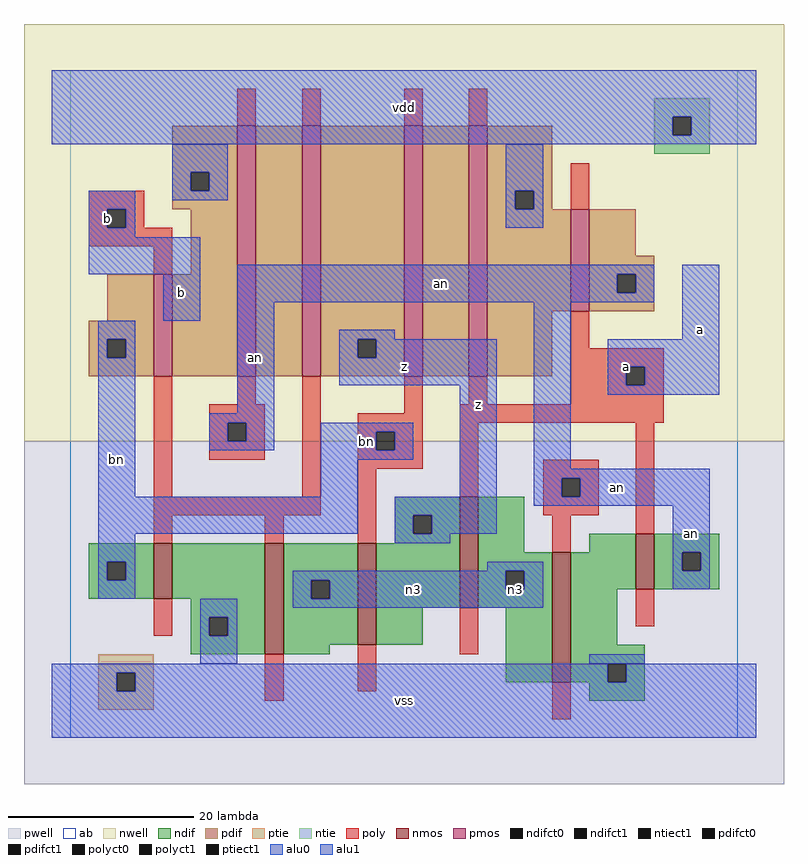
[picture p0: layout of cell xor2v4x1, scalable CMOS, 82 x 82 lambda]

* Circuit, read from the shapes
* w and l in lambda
.subckt xor2v4x1 a an b bn n3 vdd vss z
M1 vss b bn vss nfet w=6 l=2
M2 n3 b vss vss nfet w=12 l=2
M3 z bn n3 vss nfet w=11 l=2
M4 n3 a z vss nfet w=12 l=2
M5 vss an n3 vss nfet w=14 l=2
M6 an a vss vss nfet w=6 l=2
M7 vdd b bn vdd pfet w=11 l=2
M8 n1 an vdd vdd pfet w=27 l=2
M9 z b n1 vdd pfet w=27 l=2
M10 n2 bn z vdd pfet w=27 l=2
M11 vdd a n2 vdd pfet w=27 l=2
M12 an a vdd vdd pfet w=11 l=2
.ends

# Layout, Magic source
magic
tech scmos
<< ab >>
rect 0 0 72 72
<< nwell >>
rect -5 32 77 77
<< pwell >>
rect -5 -5 77 32
<< poly >>
rect 18 66 20 70
rect 25 66 27 70
rect 36 66 38 70
rect 43 66 45 70
rect 2 57 8 59
rect 2 55 4 57
rect 6 55 8 57
rect 2 53 11 55
rect 9 50 11 53
rect 54 57 56 62
rect 54 42 56 46
rect 54 40 64 42
rect 9 26 11 39
rect 18 36 20 39
rect 15 34 21 36
rect 15 32 17 34
rect 19 32 21 34
rect 15 30 21 32
rect 25 26 27 39
rect 36 35 38 39
rect 43 36 45 39
rect 54 38 60 40
rect 62 38 64 40
rect 54 36 64 38
rect 9 24 27 26
rect 31 33 38 35
rect 31 31 33 33
rect 35 31 38 33
rect 31 29 38 31
rect 42 34 64 36
rect 9 21 11 24
rect 21 21 23 24
rect 31 21 33 29
rect 42 26 44 34
rect 51 28 57 30
rect 51 26 53 28
rect 55 26 57 28
rect 9 11 11 15
rect 51 24 57 26
rect 52 20 54 24
rect 61 22 63 34
rect 21 4 23 9
rect 31 5 33 10
rect 42 9 44 14
rect 61 12 63 16
rect 52 2 54 6
<< ndif >>
rect 35 24 42 26
rect 35 22 37 24
rect 39 22 42 24
rect 35 21 42 22
rect 2 19 9 21
rect 2 17 4 19
rect 6 17 9 19
rect 2 15 9 17
rect 11 15 21 21
rect 13 13 21 15
rect 13 11 15 13
rect 17 11 21 13
rect 13 9 21 11
rect 23 17 31 21
rect 23 15 26 17
rect 28 15 31 17
rect 23 10 31 15
rect 33 14 42 21
rect 44 20 49 26
rect 56 20 61 22
rect 44 18 52 20
rect 44 16 47 18
rect 49 16 52 18
rect 44 14 52 16
rect 33 10 38 14
rect 23 9 28 10
rect 47 6 52 14
rect 54 16 61 20
rect 63 20 70 22
rect 63 18 66 20
rect 68 18 70 20
rect 63 16 70 18
rect 54 10 59 16
rect 54 8 62 10
rect 54 6 58 8
rect 60 6 62 8
rect 56 4 62 6
<< pdif >>
rect 11 61 18 66
rect 11 59 13 61
rect 15 59 18 61
rect 11 57 18 59
rect 13 50 18 57
rect 4 45 9 50
rect 2 43 9 45
rect 2 41 4 43
rect 6 41 9 43
rect 2 39 9 41
rect 11 39 18 50
rect 20 39 25 66
rect 27 43 36 66
rect 27 41 31 43
rect 33 41 36 43
rect 27 39 36 41
rect 38 39 43 66
rect 45 59 52 66
rect 45 57 48 59
rect 50 57 52 59
rect 45 46 54 57
rect 56 52 61 57
rect 56 50 63 52
rect 56 48 59 50
rect 61 48 63 50
rect 56 46 63 48
rect 45 39 52 46
<< alu1 >>
rect -2 67 74 72
rect -2 65 65 67
rect 67 65 74 67
rect -2 64 74 65
rect 2 57 7 59
rect 2 55 4 57
rect 6 55 7 57
rect 2 54 7 55
rect 2 50 14 54
rect 10 45 14 50
rect 29 43 35 44
rect 29 41 31 43
rect 33 41 46 43
rect 29 38 46 41
rect 42 26 46 38
rect 35 24 46 26
rect 66 43 70 51
rect 58 40 70 43
rect 58 38 60 40
rect 62 38 70 40
rect 58 37 70 38
rect 35 22 37 24
rect 39 22 46 24
rect 35 21 41 22
rect -2 7 58 8
rect -2 5 5 7
rect 7 6 58 7
rect 60 6 74 8
rect 7 5 74 6
rect -2 0 74 5
<< ptie >>
rect 3 7 9 9
rect 3 5 5 7
rect 7 5 9 7
rect 3 3 9 5
<< ntie >>
rect 63 67 69 69
rect 63 65 65 67
rect 67 65 69 67
rect 63 63 69 65
<< nmos >>
rect 9 15 11 21
rect 21 9 23 21
rect 31 10 33 21
rect 42 14 44 26
rect 52 6 54 20
rect 61 16 63 22
<< pmos >>
rect 9 39 11 50
rect 18 39 20 66
rect 25 39 27 66
rect 36 39 38 66
rect 43 39 45 66
rect 54 46 56 57
<< polyct0 >>
rect 17 32 19 34
rect 33 31 35 33
rect 53 26 55 28
<< polyct1 >>
rect 4 55 6 57
rect 60 38 62 40
<< ndifct0 >>
rect 4 17 6 19
rect 15 11 17 13
rect 26 15 28 17
rect 47 16 49 18
rect 66 18 68 20
<< ndifct1 >>
rect 37 22 39 24
rect 58 6 60 8
<< ntiect1 >>
rect 65 65 67 67
<< ptiect1 >>
rect 5 5 7 7
<< pdifct0 >>
rect 13 59 15 61
rect 4 41 6 43
rect 48 57 50 59
rect 59 48 61 50
<< pdifct1 >>
rect 31 41 33 43
<< alu0 >>
rect 11 61 17 64
rect 11 59 13 61
rect 15 59 17 61
rect 11 58 17 59
rect 47 59 51 64
rect 47 57 48 59
rect 50 57 51 59
rect 47 55 51 57
rect 18 50 63 51
rect 18 48 59 50
rect 61 48 63 50
rect 18 47 63 48
rect 3 43 7 45
rect 3 41 4 43
rect 6 41 7 43
rect 3 26 7 41
rect 18 35 22 47
rect 15 34 22 35
rect 15 32 17 34
rect 19 32 22 34
rect 15 31 22 32
rect 27 33 37 34
rect 27 31 33 33
rect 35 31 37 33
rect 27 30 37 31
rect 27 26 31 30
rect 3 22 31 26
rect 50 29 54 47
rect 50 28 69 29
rect 50 26 53 28
rect 55 26 69 28
rect 50 25 69 26
rect 3 19 7 22
rect 65 20 69 25
rect 3 17 4 19
rect 6 17 7 19
rect 45 18 51 19
rect 3 15 7 17
rect 24 17 47 18
rect 24 15 26 17
rect 28 16 47 17
rect 49 16 51 18
rect 65 18 66 20
rect 68 18 69 20
rect 65 16 69 18
rect 28 15 51 16
rect 14 13 18 15
rect 24 14 51 15
rect 14 11 15 13
rect 17 11 18 13
rect 14 8 18 11
rect 56 8 62 9
<< labels >>
rlabel alu0 5 30 5 30 6 bn
rlabel alu0 20 41 20 41 6 an
rlabel alu0 37 16 37 16 6 n3
rlabel alu0 48 16 48 16 6 n3
rlabel alu0 32 32 32 32 6 bn
rlabel alu0 67 22 67 22 6 an
rlabel alu0 59 27 59 27 6 an
rlabel alu0 40 49 40 49 6 an
rlabel alu1 12 48 12 48 6 b
rlabel alu1 4 56 4 56 6 b
rlabel alu1 36 4 36 4 6 vss
rlabel alu1 44 36 44 36 6 z
rlabel alu1 36 40 36 40 6 z
rlabel alu1 36 68 36 68 6 vdd
rlabel alu1 60 40 60 40 6 a
rlabel alu1 68 44 68 44 6 a
<< end >>
